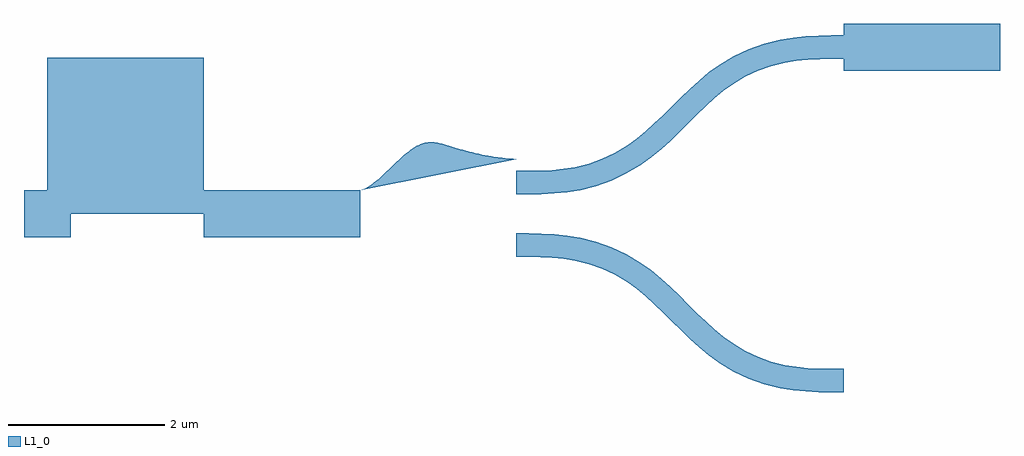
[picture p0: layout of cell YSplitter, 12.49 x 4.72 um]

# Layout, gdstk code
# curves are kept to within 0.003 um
import gdstk
lib = gdstk.Library(unit=1e-6, precision=1e-09)
def R(c, l, rs):  # rectangles x0, y0, x1, y1
    for r in rs: c.add(gdstk.rectangle(r[:2], r[2:], *l))
def P(c, l, *ps):  # polygons
    for p in ps: c.add(gdstk.Polygon(p, *l))
L1_0 = (1, 0)

c_o1 = lib.new_cell('o1')
R(c_o1, L1_0, [(-0.3,-0.3,0.3,0.3), (0,0,2,2)])

c_o2 = lib.new_cell('o2')
R(c_o2, L1_0, [(10,-0.3,12,0.3)])

c_o3 = lib.new_cell('o3')

straightwg = lib.new_cell('StraightWG')
R(straightwg, L1_0, [(2,-0.3,4,0.3)])

polygon = lib.new_cell('polygon')
P(polygon, L1_0, [(0,0.3),(0.061,0.324),(0.101,0.346),(0.202,0.418),(0.283,0.488),(0.505,0.701),(0.646,0.819),(0.747,0.88),(0.828,0.907),(0.909,0.915),(1.01,0.904),(1.091,0.884),(1.333,0.811),(1.515,0.767),(1.778,0.721),(2,0.7)])

unnamed_7 = lib.new_cell('Unnamed_7')
P(unnamed_7, L1_0, [(0,-0.15),(0,0.15),(0.309,0.153),(0.46,0.161),(0.608,0.175),(0.752,0.198),(0.929,0.243),(1.1,0.304),(1.264,0.381),(1.421,0.475),(1.539,0.561),(1.654,0.655),(1.876,0.863),(2.215,1.196),(2.336,1.306),(2.463,1.411),(2.6,1.509),(2.78,1.617),(2.971,1.707),(3.169,1.778),(3.373,1.83),(3.539,1.856),(3.704,1.872),(3.866,1.88),(4.186,1.884),(4.186,1.584),(3.877,1.581),(3.726,1.573),(3.577,1.559),(3.433,1.535),(3.256,1.491),(3.086,1.43),(2.921,1.352),(2.765,1.258),(2.647,1.173),(2.532,1.078),(2.309,0.87),(1.971,0.537),(1.85,0.428),(1.722,0.323),(1.586,0.225),(1.406,0.117),(1.215,0.026),(1.016,-0.045),(0.813,-0.096),(0.647,-0.123),(0.482,-0.139),(0.319,-0.147)])

unnamed_8 = lib.new_cell('Unnamed_8')
P(unnamed_8, L1_0, [(4.186,-1.884),(3.866,-1.88),(3.704,-1.872),(3.539,-1.856),(3.373,-1.83),(3.169,-1.778),(2.971,-1.707),(2.78,-1.617),(2.6,-1.509),(2.463,-1.411),(2.336,-1.306),(2.215,-1.196),(1.876,-0.863),(1.654,-0.655),(1.539,-0.561),(1.421,-0.475),(1.264,-0.381),(1.1,-0.304),(0.929,-0.243),(0.752,-0.198),(0.608,-0.175),(0.46,-0.161),(0.309,-0.153),(0,-0.15),(0,0.15),(0.319,0.147),(0.482,0.139),(0.647,0.123),(0.813,0.096),(1.016,0.045),(1.215,-0.026),(1.406,-0.117),(1.586,-0.225),(1.722,-0.323),(1.85,-0.428),(1.971,-0.537),(2.309,-0.87),(2.532,-1.078),(2.647,-1.173),(2.765,-1.258),(2.921,-1.352),(3.086,-1.43),(3.256,-1.491),(3.433,-1.535),(3.577,-1.559),(3.726,-1.573),(3.877,-1.581),(4.186,-1.584)])

splitter = lib.new_cell('splitter')
splitter.add(gdstk.Reference(straightwg, (0,0)))
splitter.add(gdstk.Reference(polygon, (4,0)))
splitter.add(gdstk.Reference(unnamed_7, (6,0.4)))
splitter.add(gdstk.Reference(unnamed_8, (6,-0.4)))

ysplitter = lib.new_cell('YSplitter')
ysplitter.add(gdstk.Reference(c_o1, (0,0)))
ysplitter.add(gdstk.Reference(c_o2, (0.186,2.134)))
ysplitter.add(gdstk.Reference(c_o3, (0.186,-2.134)))
ysplitter.add(gdstk.Reference(splitter, (0,0)))

lib.write_gds('YSplitter.gds')
